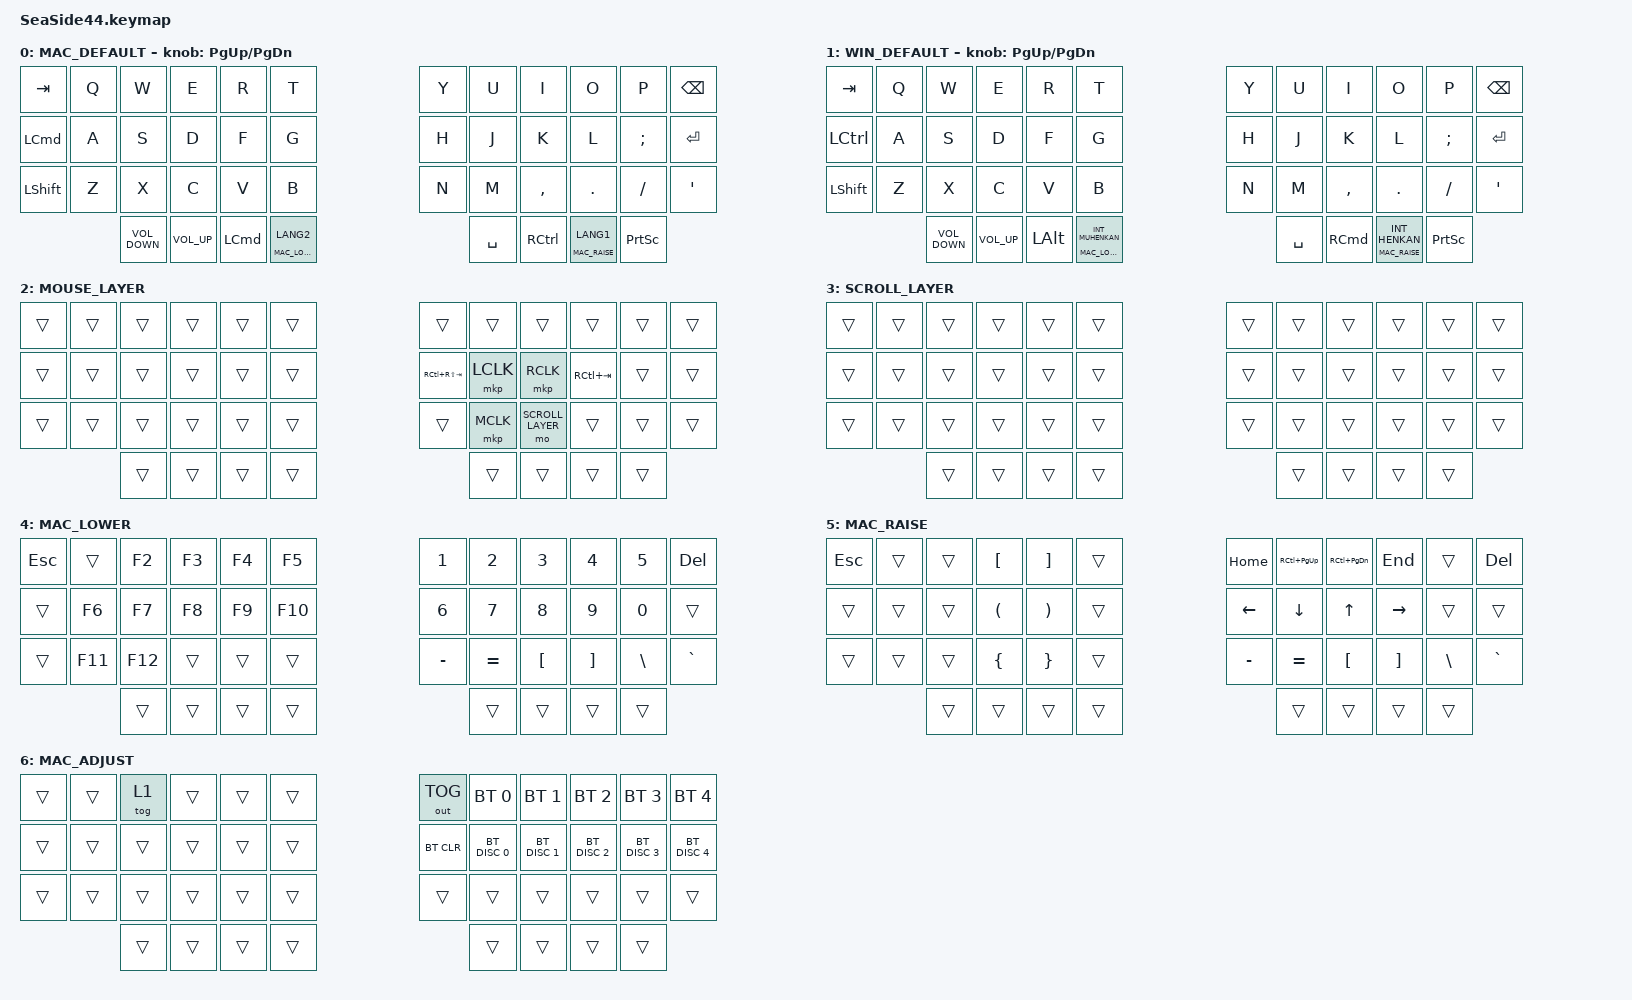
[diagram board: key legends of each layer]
#include <behaviors.dtsi>
#include <dt-bindings/zmk/bt.h>
#include <dt-bindings/zmk/keys.h>
#include <dt-bindings/zmk/outputs.h>
#include <dt-bindings/zmk/pointing.h>

#define MAC_DEFAULT     0
#define WIN_DEFAULT     1
#define MOUSE_LAYER     2
#define SCROLL_LAYER    3
#define MAC_LOWER       4
#define MAC_RAISE       5
#define MAC_ADJUST      6

&mt {
    flavor = "balanced";
    quick-tap-ms = <300>;
};

&lt {
    flavor = "balanced";
    quick-tap-ms = <300>;
};

&zip_temp_layer {
    require-prior-idle-ms = <200>;
    excluded-positions = <
        18 // H
        19 // J
        20 // K
        21 // L
        31 // M
        32 // ,
    >;
};

/ {
	trackball_listener {
        compatible = "zmk,input-listener";
        device = <&trackball>;

        input-processors = <&zip_temp_layer 2 500>;
    };

    combos { compatible = "zmk,combos"; };

    macros {
        to_layer_0: to_layer_0 {
            compatible = "zmk,behavior-macro-one-param";
            #binding-cells = <1>;
            bindings = <&to 0 &macro_param_1to1 &kp MACRO_PLACEHOLDER>;
            label = "TO_LAYER_0";
        };
        to_layer_1: to_layer_1 {
            compatible = "zmk,behavior-macro-one-param";
            #binding-cells = <1>;
            bindings = <&to 1 &macro_param_1to1 &kp MACRO_PLACEHOLDER>;
            label = "TO_LAYER_1";
        };

    };

    behaviors {
        mt: mod_tap {
            compatible = "zmk,behavior-hold-tap";
            #binding-cells = <2>;
            flavor = "hold-preferred";
            tapping-term-ms = <200>;
            bindings = <&kp>, <&kp>;

            display-name = "Mod-Tap";
        };

        lt: layer_tap {
            compatible = "zmk,behavior-hold-tap";
            #binding-cells = <2>;
            flavor = "hold-preferred";
            tapping-term-ms = <200>;
            bindings = <&mo>, <&kp>;

            hold-while-undecided;
            display-name = "Layer-Tap";
        };

        lt_to_layer_0: lt_to_layer_0 {
            compatible = "zmk,behavior-hold-tap";
            #binding-cells = <2>;
            flavor = "hold-preferred";
            tapping-term-ms = <200>;
            bindings = <&mo>, <&to_layer_0>;

            hold-while-undecided;
            label = "LAYER_TAP_TO_0";
        };

        lt_to_layer_1: lt_to_layer_1 {
            compatible = "zmk,behavior-hold-tap";
            #binding-cells = <2>;
            flavor = "hold-preferred";
            tapping-term-ms = <200>;
            bindings = <&mo>, <&to_layer_1>;

            hold-while-undecided;
            label = "LAYER_TAP_TO_1";
        };

        tog_on: toggle_layer_on_only {
            compatible = "zmk,behavior-toggle-layer";
            #binding-cells = <1>;
            display-name = "Toggle Layer On";
            toggle-mode = "on";
        };

        tog_off: toggle_layer_off_only {
            compatible = "zmk,behavior-toggle-layer";
            #binding-cells = <1>;
            display-name = "Toggle Layer Off";
            toggle-mode = "off";
        };

    };

    keymap {
        compatible = "zmk,keymap";

        MAC_DEFAULT {
            bindings = <
&kp TAB    &kp Q  &kp W              &kp E           &kp R     &kp T                                                 &kp Y                           &kp U  &kp I      &kp O       &kp P            &kp BACKSPACE
&kp LCMD   &kp A  &kp S              &kp D           &kp F     &kp G                                                 &kp H                           &kp J  &kp K      &kp L       &kp SEMI         &kp ENTER
&kp LSHFT  &kp Z  &kp X              &kp C           &kp V     &kp B                                                 &kp N                           &kp M  &kp COMMA  &kp PERIOD  &kp SLASH        &kp SQT
                  &kp C_VOLUME_DOWN  &kp C_VOLUME_UP &kp LCMD  &lt_to_layer_0 MAC_LOWER LANG2  &kp SPACE  &kp RCTRL  &lt_to_layer_0 MAC_RAISE LANG1                                &kp PRINTSCREEN
            >;

            sensor-bindings = <&inc_dec_kp PG_UP PAGE_DOWN>;
        };

        WIN_DEFAULT {
            bindings = <
&kp TAB    &kp Q  &kp W              &kp E           &kp R         &kp T                                                       &kp Y                                &kp U  &kp I      &kp O       &kp P            &kp BACKSPACE
&kp LCTRL  &kp A  &kp S              &kp D           &kp F         &kp G                                                       &kp H                                &kp J  &kp K      &kp L       &kp SEMI         &kp ENTER
&kp LSHFT  &kp Z  &kp X              &kp C           &kp V         &kp B                                                       &kp N                                &kp M  &kp COMMA  &kp PERIOD  &kp SLASH        &kp SQT
                  &kp C_VOLUME_DOWN  &kp C_VOLUME_UP &kp LEFT_ALT  &lt_to_layer_1 MAC_LOWER INT_MUHENKAN  &kp SPACE  &kp RCMD  &lt_to_layer_1 MAC_RAISE INT_HENKAN                                &kp PRINTSCREEN
            >;

            sensor-bindings = <&inc_dec_kp PG_UP PAGE_DOWN>;
        };

        MOUSE_LAYER {
            bindings = <
&trans  &trans  &trans  &trans  &trans  &trans                  &trans           &trans     &trans            &trans       &trans  &trans
&trans  &trans  &trans  &trans  &trans  &trans                  &kp RC(RS(TAB))  &mkp LCLK  &mkp RCLK         &kp RC(TAB)  &trans  &trans
&trans  &trans  &trans  &trans  &trans  &trans                  &trans           &mkp MCLK  &mo SCROLL_LAYER  &trans       &trans  &trans
                &trans  &trans  &trans  &trans  &trans  &trans  &trans                                                     &trans
            >;
        };

        SCROLL_LAYER {
            bindings = <
&trans  &trans  &trans  &trans  &trans  &trans                  &trans  &trans    &trans    &trans    &trans  &trans
&trans  &trans  &trans  &trans  &trans  &trans                  &trans  &trans    &trans    &trans    &trans  &trans
&trans  &trans  &trans  &trans  &trans  &trans                  &trans  &trans    &trans    &trans    &trans  &trans
                &trans  &trans  &trans  &trans  &trans  &trans  &trans                                &trans
            >;
        };

        MAC_LOWER {
            bindings = <
&kp ESC  &trans   &kp F2   &kp F3  &kp F4  &kp F5                   &kp N1     &kp N2     &kp N3    &kp N4    &kp N5    &kp DELETE
&trans   &kp F6   &kp F7   &kp F8  &kp F9  &kp F10                  &kp N6     &kp N7     &kp N8    &kp N9    &kp N0    &trans
&trans   &kp F11  &kp F12  &trans  &trans  &trans                   &kp MINUS  &kp EQUAL  &kp LBKT  &kp RBKT  &kp BSLH  &kp GRAVE
                  &trans   &trans  &trans  &trans   &trans  &trans  &trans                                    &trans
            >;
        };

        MAC_RAISE {
            bindings = <
&kp ESC  &trans  &trans  &kp LBKT              &kp RBKT               &trans                  &kp HOME   &kp RC(PG_UP)  &kp RC(PG_DN)  &kp END    &trans    &kp DEL
&trans   &trans  &trans  &kp LEFT_PARENTHESIS  &kp RIGHT_PARENTHESIS  &trans                  &kp LEFT   &kp DOWN       &kp UP         &kp RIGHT  &trans    &trans
&trans   &trans  &trans  &kp LEFT_BRACE        &kp RIGHT_BRACE        &trans                  &kp MINUS  &kp EQUAL      &kp LBKT       &kp RBKT   &kp BSLH  &kp GRAVE
                 &trans  &trans                &trans                 &trans  &trans  &trans  &trans                                              &trans
            >;
        };

        MAC_ADJUST {
            bindings = <
&trans  &trans  &tog 1  &trans  &trans  &trans                  &out OUT_TOG  &bt BT_SEL 0  &bt BT_SEL 1  &bt BT_SEL 2  &bt BT_SEL 3  &bt BT_SEL 4
&trans  &trans  &trans  &trans  &trans  &trans                  &bt BT_CLR    &bt BT_DISC 0 &bt BT_DISC 1 &bt BT_DISC 2 &bt BT_DISC 3 &bt BT_DISC 4
&trans  &trans  &trans  &trans  &trans  &trans                  &trans        &trans        &trans        &trans        &trans        &trans
                &trans  &trans  &trans  &trans  &trans  &trans  &trans                                                  &trans
            >;
        };
    };
	conditional_layers {
        compatible = "zmk,conditional-layers";

        Adjust {
            if-layers = <MAC_LOWER MAC_RAISE>;
            then-layer = <MAC_ADJUST>;
        };
    };

};
